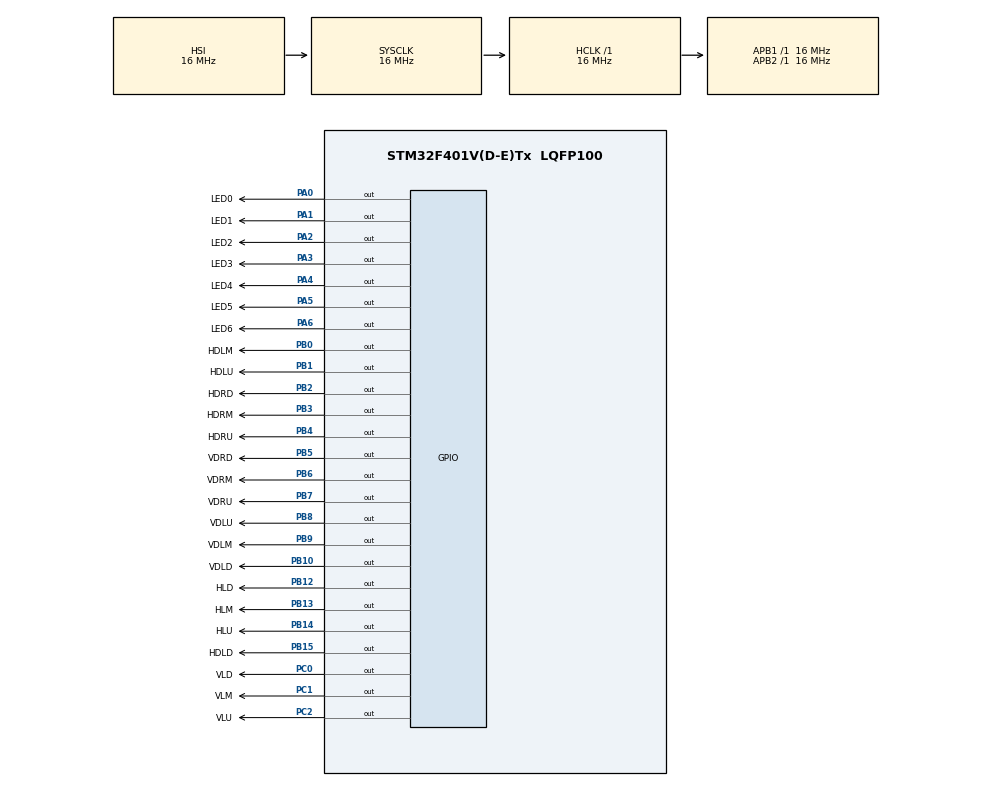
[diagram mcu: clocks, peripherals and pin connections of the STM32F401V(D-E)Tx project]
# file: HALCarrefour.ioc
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Mcu.Family=STM32F4
Mcu.Name=STM32F401V(D-E)Tx
Mcu.Package=LQFP100
NVIC.PriorityGroup=NVIC_PRIORITYGROUP_4
PA0-WKUP.GPIO_Label=LED0
PA0-WKUP.GPIO_PuPd=GPIO_PULLUP
PA0-WKUP.Signal=GPIO_Output
PA1.GPIO_Label=LED1
PA1.GPIO_PuPd=GPIO_PULLUP
PA1.Signal=GPIO_Output
PA2.GPIO_Label=LED2
PA2.GPIO_PuPd=GPIO_PULLUP
PA2.Signal=GPIO_Output
PA3.GPIO_Label=LED3
PA3.GPIO_PuPd=GPIO_PULLUP
PA3.Signal=GPIO_Output
PA4.GPIO_Label=LED4
PA4.GPIO_PuPd=GPIO_PULLUP
PA4.Signal=GPIO_Output
PA5.GPIO_Label=LED5
PA5.GPIO_PuPd=GPIO_PULLUP
PA5.Signal=GPIO_Output
PA6.GPIO_Label=LED6
PA6.GPIO_PuPd=GPIO_PULLUP
PA6.Signal=GPIO_Output
PB0.GPIO_Label=HDLM
PB0.GPIO_PuPd=GPIO_PULLUP
PB0.Signal=GPIO_Output
PB1.GPIO_Label=HDLU
PB1.GPIO_PuPd=GPIO_PULLUP
PB1.Signal=GPIO_Output
PB10.GPIO_Label=VDLD
PB10.GPIO_PuPd=GPIO_PULLUP
PB10.Signal=GPIO_Output
PB12.GPIO_Label=HLD
PB12.GPIO_PuPd=GPIO_PULLUP
PB12.Signal=GPIO_Output
PB13.GPIO_Label=HLM
PB13.GPIO_PuPd=GPIO_PULLUP
PB13.Signal=GPIO_Output
PB14.GPIO_Label=HLU
PB14.GPIO_PuPd=GPIO_PULLUP
PB14.Signal=GPIO_Output
PB15.GPIO_Label=HDLD
PB15.GPIO_PuPd=GPIO_PULLUP
PB15.Signal=GPIO_Output
PB2.GPIO_Label=HDRD
PB2.GPIO_PuPd=GPIO_PULLUP
PB2.Signal=GPIO_Output
PB3.GPIO_Label=HDRM
PB3.GPIO_PuPd=GPIO_PULLUP
PB3.Signal=GPIO_Output
PB4.GPIO_Label=HDRU
PB4.GPIO_PuPd=GPIO_PULLUP
PB4.Signal=GPIO_Output
PB5.GPIO_Label=VDRD
PB5.GPIO_PuPd=GPIO_PULLUP
PB5.Signal=GPIO_Output
PB6.GPIO_Label=VDRM
PB6.GPIO_PuPd=GPIO_PULLUP
PB6.Signal=GPIO_Output
PB7.GPIO_Label=VDRU
PB7.GPIO_PuPd=GPIO_PULLUP
PB7.Signal=GPIO_Output
PB8.GPIO_Label=VDLU
PB8.GPIO_PuPd=GPIO_PULLUP
PB8.Signal=GPIO_Output
PB9.GPIO_Label=VDLM
PB9.GPIO_PuPd=GPIO_PULLUP
PB9.Signal=GPIO_Output
PC0.GPIO_Label=VLD
PC0.GPIO_PuPd=GPIO_PULLUP
PC0.Signal=GPIO_Output
PC1.GPIO_Label=VLM
PC1.GPIO_PuPd=GPIO_PULLUP
PC1.Signal=GPIO_Output
PC2.GPIO_Label=VLU
PC2.GPIO_PuPd=GPIO_PULLUP
PC2.Signal=GPIO_Output
ProjectManager.HeapSize=0x200
ProjectManager.StackSize=0x400
ProjectManager.TargetToolchain=MDK-ARM V5.32
RCC.AHBFreq_Value=16000000
RCC.APB1Freq_Value=16000000
RCC.APB2Freq_Value=16000000
RCC.CortexFreq_Value=16000000
RCC.HSE_VALUE=25000000
RCC.HSI_VALUE=16000000
RCC.LSE_VALUE=32768
RCC.SYSCLKFreq_VALUE=16000000
RCC.VCOOutputFreq_Value=192000000
board=custom

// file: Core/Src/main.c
/* USER CODE BEGIN Header */
/**
  ******************************************************************************
  * @file           : main.c
  * @brief          : Main program body
  ******************************************************************************
  * @attention
  *
  * Copyright (c) 2025 STMicroelectronics.
  * All rights reserved.
  *
  * This software is licensed under terms that can be found in the LICENSE file
  * in the root directory of this software component.
  * If no LICENSE file comes with this software, it is provided AS-IS.
  *
  ******************************************************************************
  */
/* USER CODE END Header */
#include "main.h"
#include "gpio.h"

void SystemClock_Config(void);

/* USER CODE BEGIN 0 */
void Renewal()
{
  uint8_t i,T[10]={0xc0, 0xf9, 0xa4, 0xb0, 0x99,0x92, 0x82, 0xf8, 0x80, 0x90};
  for (i=5;i>0;i--)
  {
    GPIOA->ODR= T[i-1];
    HAL_Delay(1000);
  }
}
/* USER CODE END 0 */

int main(void)
{

  /* MCU Configuration--------------------------------------------------------*/

  /* Reset of all peripherals, Initializes the Flash interface and the Systick. */
  HAL_Init();

  /* Configure the system clock */
  SystemClock_Config();

  /* Initialize all configured peripherals */
  MX_GPIO_Init();

  /* Infinite loop */
  while (1)
  {

    /* USER CODE BEGIN 3 */
		HAL_GPIO_WritePin(GPIOB,HDLU_Pin|HDRD_Pin |VDRU_Pin|VDLU_Pin|HLD_Pin, GPIO_PIN_SET);
    HAL_GPIO_WritePin(GPIOC,VLD_Pin, GPIO_PIN_SET);
    //Turn OFF HDLM,VDRM,HLM and VLM
    HAL_GPIO_WritePin(GPIOB,HDLM_Pin|VDRM_Pin|HLM_Pin, GPIO_PIN_RESET);
    HAL_GPIO_WritePin(GPIOC,VLM_Pin, GPIO_PIN_RESET);

   //Renewal
    Renewal();

    //Turn ON HDLM,VDRM,HDRM et VDLM
    HAL_GPIO_WritePin(GPIOB,HDLM_Pin|HDRM_Pin|VDRM_Pin|VDLM_Pin,GPIO_PIN_SET);
    //Turn OFF V1 ,VDRU,HDRD,VDLU
    HAL_GPIO_WritePin(GPIOB,HDLU_Pin|VDRU_Pin|HDRD_Pin|VDLU_Pin, GPIO_PIN_RESET);

    //delay
    HAL_Delay(1000);

    //Turn OFF HDLM, VDRM ,HDRM,VDLM, HDRD, VDLU,
    HAL_GPIO_WritePin(GPIOB,HDLM_Pin|HDRM_Pin|HDRD_Pin|VDRM_Pin|VDLM_Pin|VDLU_Pin,GPIO_PIN_RESET);
    //Turn ON HDLD,VDRD,HDRU, VDLU
    HAL_GPIO_WritePin(GPIOB, HDLD_Pin|VDRD_Pin|VDLU_Pin|HDRU_Pin, GPIO_PIN_SET);
    //Renewal
    Renewal();

    //allumer HDRM,VDLM,HLM and VLM
    HAL_GPIO_WritePin(GPIOB,HDRM_Pin|VDLM_Pin|HLM_Pin,GPIO_PIN_SET);
    HAL_GPIO_WritePin(GPIOC,VLM_Pin,GPIO_PIN_SET);
    // Turn OFF HDRU ,VDLU and HLD
    HAL_GPIO_WritePin(GPIOB,HDRU_Pin|VDLU_Pin|HLD_Pin, GPIO_PIN_RESET);
    HAL_GPIO_WritePin(GPIOC,VLD_Pin, GPIO_PIN_RESET);
    HAL_Delay(1000);

    //Turn ON HLU,VLU,HDRD et VDLU
    HAL_GPIO_WritePin(GPIOB,HLU_Pin|HDRD_Pin|VDLU_Pin,GPIO_PIN_SET);
    HAL_GPIO_WritePin(GPIOC,VLU_Pin,GPIO_PIN_SET);
    //Turn OFF HLD, VLD, HLM, VLM, HDRM et VDLM
    HAL_GPIO_WritePin(GPIOB,HLM_Pin|HLD_Pin|HDRM_Pin|VDLM_Pin,GPIO_PIN_RESET);
    HAL_GPIO_WritePin(GPIOC,VLM_Pin|VLD_Pin,GPIO_PIN_RESET);
    //Renewal
    Renewal();

    // Turn OFF HLU,VLU,HDLD and VDRD
    HAL_GPIO_WritePin(GPIOB,HLU_Pin|HDLD_Pin|VDRD_Pin,GPIO_PIN_RESET);
    HAL_GPIO_WritePin(GPIOC,VLU_Pin,GPIO_PIN_RESET);
    //Turn ON HDLM,VDRM,HLM and VLM
    HAL_GPIO_WritePin(GPIOB,HDLM_Pin|VDRM_Pin|HLM_Pin,GPIO_PIN_SET);
    HAL_GPIO_WritePin(GPIOC,VLM_Pin,GPIO_PIN_SET);
    HAL_Delay(1000);
  }
  /* USER CODE END 3 */
}

void SystemClock_Config(void)
{
  RCC_OscInitTypeDef RCC_OscInitStruct = {0};
  RCC_ClkInitTypeDef RCC_ClkInitStruct = {0};

  /** Configure the main internal regulator output voltage
  */
  __HAL_RCC_PWR_CLK_ENABLE();
  __HAL_PWR_VOLTAGESCALING_CONFIG(PWR_REGULATOR_VOLTAGE_SCALE2);

  /** Initializes the RCC Oscillators according to the specified parameters
  * in the RCC_OscInitTypeDef structure.
  */
  RCC_OscInitStruct.OscillatorType = RCC_OSCILLATORTYPE_HSI;
  RCC_OscInitStruct.HSIState = RCC_HSI_ON;
  RCC_OscInitStruct.HSICalibrationValue = RCC_HSICALIBRATION_DEFAULT;
  RCC_OscInitStruct.PLL.PLLState = RCC_PLL_NONE;
  if (HAL_RCC_OscConfig(&RCC_OscInitStruct) != HAL_OK)
  {
    Error_Handler();
  }

  /** Initializes the CPU, AHB and APB buses clocks
  */
  RCC_ClkInitStruct.ClockType = RCC_CLOCKTYPE_HCLK|RCC_CLOCKTYPE_SYSCLK
                              |RCC_CLOCKTYPE_PCLK1|RCC_CLOCKTYPE_PCLK2;
  RCC_ClkInitStruct.SYSCLKSource = RCC_SYSCLKSOURCE_HSI;
  RCC_ClkInitStruct.AHBCLKDivider = RCC_SYSCLK_DIV1;
  RCC_ClkInitStruct.APB1CLKDivider = RCC_HCLK_DIV1;
  RCC_ClkInitStruct.APB2CLKDivider = RCC_HCLK_DIV1;

  if (HAL_RCC_ClockConfig(&RCC_ClkInitStruct, FLASH_LATENCY_0) != HAL_OK)
  {
    Error_Handler();
  }
}

void Error_Handler(void)
{
  __disable_irq();
  while (1)
  {
  }
}
